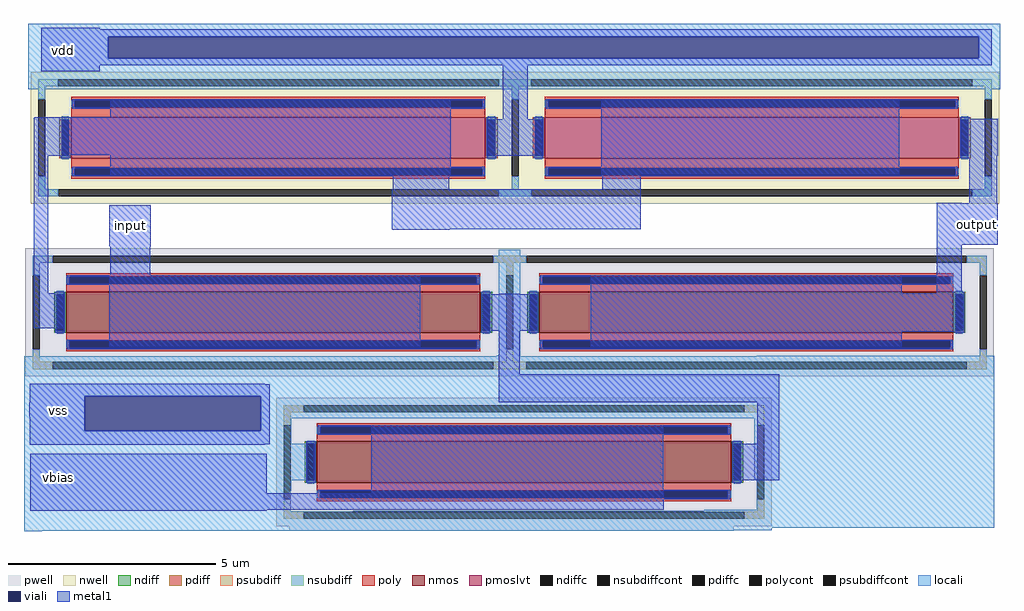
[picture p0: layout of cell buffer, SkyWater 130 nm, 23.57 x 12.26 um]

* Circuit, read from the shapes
.subckt buffer vdd vss vbias input output
XM1 n1 input n2 vss sky130_fd_pr__nfet_01v8 w=1 l=10
XM2 n1 vbias vss vss sky130_fd_pr__nfet_01v8 w=1 l=10
XM3 output output n1 vss sky130_fd_pr__nfet_01v8 w=1 l=10
XM4 vdd n2 n2 vdd sky130_fd_pr__pfet_01v8_lvt w=1 l=10
XM5 output n2 vdd vdd sky130_fd_pr__pfet_01v8_lvt w=1 l=10
.ends

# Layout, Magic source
magic
tech sky130A
magscale 1 2
<< pwell >>
rect 2316 -1858 4154 -1856
rect 2006 -1954 4154 -1858
<< locali >>
rect 746 432 5440 496
rect 746 328 1134 432
rect 5338 328 5440 432
rect 746 180 5440 328
rect 3018 -816 3122 -596
rect 3018 -848 3124 -816
rect 3020 -1106 3124 -848
rect 3014 -1108 3124 -1106
rect 3006 -1110 3124 -1108
rect 4264 -1110 5412 -1108
rect 726 -1304 5412 -1110
rect 726 -1470 1020 -1304
rect 1870 -1410 5412 -1304
rect 1870 -1470 2018 -1410
rect 726 -1532 2018 -1470
rect 726 -1710 2126 -1532
rect 4254 -1708 5412 -1410
rect 726 -1760 2018 -1710
rect 726 -1858 2014 -1760
rect 4264 -1852 5412 -1708
rect 4012 -1856 5412 -1852
rect 2316 -1858 5412 -1856
rect 726 -1938 5412 -1858
rect 726 -1950 4338 -1938
rect 726 -1954 4154 -1950
rect 726 -1956 812 -1954
<< viali >>
rect 1134 328 5338 432
rect 1020 -1470 1870 -1304
<< metal1 >>
rect 810 470 1092 476
rect 810 432 5400 470
rect 810 328 1134 432
rect 5338 328 5400 432
rect 810 294 5400 328
rect 810 266 1092 294
rect 1142 44 2786 124
rect 778 42 2786 44
rect 774 -136 2786 42
rect 3038 34 3158 294
rect 774 -142 940 -136
rect 774 -806 842 -142
rect 1142 -236 2786 -136
rect 2966 -142 3228 34
rect 3514 -232 4954 124
rect 5254 -142 5430 36
rect 2506 -304 2780 -236
rect 3518 -304 3704 -232
rect 1138 -580 1338 -380
rect 2502 -498 3706 -304
rect 5134 -372 5256 -370
rect 5292 -372 5426 -142
rect 2506 -500 2780 -498
rect 5134 -572 5430 -372
rect 1142 -728 1336 -580
rect 772 -974 916 -806
rect 774 -976 842 -974
rect 1138 -1064 2640 -728
rect 3464 -806 4966 -728
rect 5134 -806 5256 -572
rect 3018 -810 3120 -808
rect 2942 -986 3202 -810
rect 3018 -1198 3120 -986
rect 3464 -992 5262 -806
rect 3464 -1064 4966 -992
rect 754 -1246 1890 -1244
rect 754 -1304 1912 -1246
rect 754 -1334 1020 -1304
rect 752 -1402 1020 -1334
rect 754 -1470 1020 -1402
rect 1870 -1470 1912 -1304
rect 3018 -1332 4374 -1198
rect 754 -1536 1912 -1470
rect 754 -1538 1890 -1536
rect 756 -1772 1898 -1582
rect 2402 -1772 3814 -1454
rect 4268 -1532 4374 -1332
rect 4154 -1710 4374 -1532
rect 756 -1852 3816 -1772
rect 756 -1856 1898 -1852
use sky130_fd_pr__nfet_01v8_QXBCRM  XM1 paramcells
transform 1 0 1929 0 1 -898
box -1196 -310 1196 310
use sky130_fd_pr__nfet_01v8_QXBCRM  XM2
transform 1 0 4215 0 1 -898
box -1196 -310 1196 310
use sky130_fd_pr__pfet_01v8_lvt_B5H3CA  XM3 paramcells
transform 1 0 1955 0 1 -55
box -1196 -319 1196 319
use sky130_fd_pr__pfet_01v8_lvt_B5H3CA  XM4
transform 1 0 4241 0 1 -55
box -1196 -319 1196 319
use sky130_fd_pr__nfet_01v8_QXBCRM  XM5
transform 1 0 3141 0 1 -1622
box -1196 -310 1196 310
<< labels >>
flabel metal1 792 -1470 992 -1270 0 FreeSans 256 0 0 0 vss
port 1 nsew
flabel metal1 818 268 1018 468 0 FreeSans 256 0 0 0 vdd
port 0 nsew
flabel metal1 5230 -572 5430 -372 0 FreeSans 256 0 0 0 output
port 4 nsew
flabel metal1 1138 -580 1338 -380 0 FreeSans 256 0 0 0 input
port 3 nsew
flabel metal1 792 -1798 992 -1598 0 FreeSans 256 0 0 0 vbias
port 2 nsew
<< end >>

# cell sky130_fd_pr__nfet_01v8_QXBCRM: kit device sky130_fd_pr__nfet_01v8, w 1.0 l 10.0 m 1 nf 1 diffcov 100 polycov 100 guard 1 glc 1 grc 1 gtc 1 gbc 1 tbcov 100 rlcov 100 topc 1 botc 1 poverlap 0 doverlap 1 lmin 0.15 wmin 0.42 compatible {sky130_fd_pr__nfet_01v8 sky130_fd_pr__nfet_01v8_lvt sky130_fd_bs_flash__special_sonosfet_star sky130_fd_pr__nfet_g5v0d10v5 sky130_fd_pr__nfet_05v0_nvt sky130_fd_pr__nfet_03v3_nvt} full_metal 1 viasrc 100 viadrn 100 viagate 100 viagb 0 viagr 0 viagl 0 viagt 0

# cell sky130_fd_pr__pfet_01v8_lvt_B5H3CA: kit device sky130_fd_pr__pfet_01v8_lvt, w 1.0 l 10.0 m 1 nf 1 diffcov 100 polycov 100 guard 1 glc 1 grc 1 gtc 1 gbc 1 tbcov 100 rlcov 100 topc 1 botc 1 poverlap 0 doverlap 1 lmin 0.35 wmin 0.42 compatible {sky130_fd_pr__pfet_01v8 sky130_fd_pr__pfet_01v8_lvt sky130_fd_pr__pfet_01v8_hvt sky130_fd_pr__pfet_g5v0d10v5} full_metal 1 viasrc 100 viadrn 100 viagate 100 viagb 0 viagr 0 viagl 0 viagt 0
